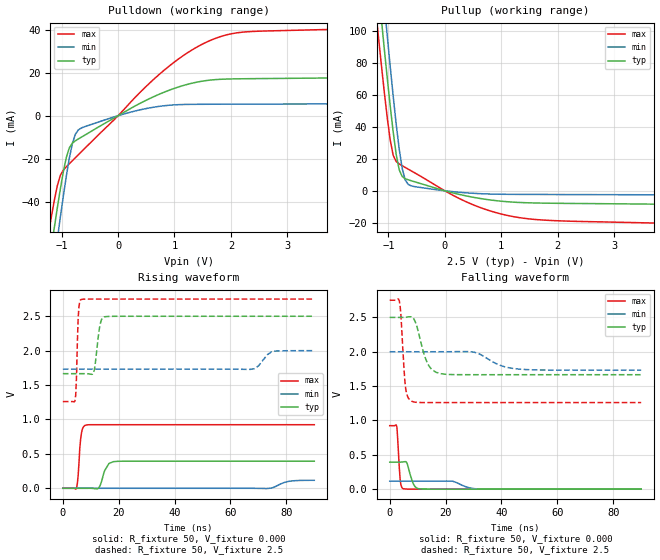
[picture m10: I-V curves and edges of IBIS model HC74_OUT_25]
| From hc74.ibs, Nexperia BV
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|   Model  HC74_OUT_25
[Model]   HC74_OUT_25
Model_type   Output
Polarity   Non-Inverting
Vmeas =  1.25V
Cref  =  5e-11
Rref  =  1e+06
Vref  =  0V
C_comp   1.2764pF   0.9255pF   1.7800pF
[Model Spec]
| Note: The input and output voltage ratings may be exceeded if the input and
|   output current ratings are observed (please refer to the data sheet)
|   Subparameter   typ   min   max
| Timing Thresholds
Vmeas   1.25   1.0   1.375
|Ambient temperature:   25   85   -40
[Temperature Range]   35   95   -30
[Voltage Range]   2.5   2.0   2.75
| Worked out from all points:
|   slope of the pulldown table from 0 to 0.375 V, typ, clamps not added: 67.5 ohm
|   slope of the pullup table from 0 to 0.375 V, typ, clamps not added: 118 ohm
|   rising waveform, R_fixture 50, V_fixture 0.000: 20-80 % time 2.15ns typ, 4.07ns min, 974ps max; typ from 0 V to 0.394 V
|   rising waveform, R_fixture 50, V_fixture 2.5: 20-80 % time 1.47ns typ, 3.21ns min, 644ps max; typ from 1.67 V to 2.5 V
|   falling waveform, R_fixture 50, V_fixture 0.000: 20-80 % time 1.8ns typ, 4.2ns min, 818ps max; typ from 0.394 V to 0 V
|   falling waveform, R_fixture 50, V_fixture 2.5: 20-80 % time 3.58ns typ, 7.71ns min, 1.33ns max; typ from 2.5 V to 1.67 V
|Process Range   nominal   slow   fast
[Pulldown]
|   voltage   I(typ)   I(min)   I(max)
-2.75V    -365.9mA   -416.1mA   -323.4mA
-1.234V   -71.2mA    -89.58mA   -55.51mA
-1.128V   -52.06mA   -68.04mA   -39.34mA
-1.075V   -42.87mA   -57.54mA   -32.57mA
-1.022V   -34.11mA   -47.3mA    -27.78mA
-915.6mV  -19.41mA   -28.16mA   -23.75mA
-809.4mV  -12.8mA    -13.04mA   -20.97mA
-703.1mV  -10.82mA   -6.604mA   -18.2mA
731.2mV   10.03mA    4.371mA    19.28mA
1.634V    16.61mA    5.354mA    35.08mA
2.325V    17.26mA    5.408mA    39.17mA
5.5V      18mA       5.64mA     41.31mA
[Pullup]
|   voltage   I(typ)   I(min)   I(max)
-2.75V    738.4mA    806mA      675.2mA
-1.234V   147.6mA    179.5mA    116.2mA
-1.181V   127.9mA    158.5mA    97.76mA
-1.128V   108.5mA    137.8mA    79.72mA
-1.075V   89.39mA    117.4mA    62.3mA
-1.022V   70.85mA    97.36mA    45.97mA
-915.6mV  36.7mA     59.15mA    22.14mA
-809.4mV  13.11mA    26.12mA    16.82mA
-703.1mV  7.588mA    6.797mA    14.61mA
-596.9mV  6.303mA    3.075mA    12.48mA
1.316V    -7.298mA   -2.252mA   -16.77mA
5.5V      -8.895mA   -2.683mA   -21.55mA
[Ramp]
| variable   typ   min   max
dV/dt_r  2.3612E-01/1.9886E-09  6.9439E-02/3.9265E-09  5.5439E-01/1.0723E-09
dV/dt_f  2.3612E-01/1.8235E-09  6.9556E-02/4.1158E-09  5.5439E-01/9.0749E-10
R_load = 50
[Rising Waveform]
R_fixture   = 50
V_fixture   = 0.000
V_fixture_min = 0.000
V_fixture_max = 0.000
| time   V(typ)   V(min)   V(max)
0s        4.133pV    859.3pV    173fV
4.889ns   -458.8nV   -6.481nV   618uV
5.467ns   -415.3nV   -3.165nV   181.5mV
6.622ns   -677.3nV   -33.2pV    792.6mV
8.356ns   19.74uV    1.29nV     919.2mV
12.69ns   -174.6uV   992.7pV    924mV
15ns      259.9mV    446.5pV    924mV
18.06ns   386.2mV    -241.7pV   924mV
73.16ns   393.5mV    -3.655mV   924mV
90ns      393.5mV    115.7mV    924mV
[Rising Waveform]
R_fixture   = 50
V_fixture   = 2.5
V_fixture_min = 2.0
V_fixture_max = 2.75
| time   V(typ)   V(min)   V(max)
0s        1.666V     1.732V     1.26V
4.311ns   1.666V     1.732V     1.266V
4.889ns   1.666V     1.732V     1.624V
5.467ns   1.666V     1.732V     2.458V
6.333ns   1.666V     1.732V     2.739V
10.96ns   1.675V     1.732V     2.75V
13.27ns   2.365V     1.732V     2.75V
14.71ns   2.491V     1.732V     2.75V
67.04ns   2.5V       1.728V     2.75V
90ns      2.5V       2V         2.75V
[Falling Waveform]
R_fixture   = 50
V_fixture   = 0.000
V_fixture_min = 0.000
V_fixture_max = 0.000
| time   V(typ)   V(min)   V(max)
0s        393.5mV    115.9mV    924mV
2.578ns   393.4mV    115.9mV    905.3mV
3.733ns   393.6mV    115.9mV    139.4mV
4.889ns   396.4mV    115.9mV    6.309mV
6.044ns   389.8mV    115.9mV    1.798mV
8.356ns   86.07mV    115.9mV    160.2uV
10.38ns   6.265mV    115.9mV    19.55uV
22.65ns   11.02uV    114.7mV    8.011nV
31.84ns   223.2nV    3.195mV    -86.54pV
90ns      4.133pV    8.631nV    173fV
[Falling Waveform]
R_fixture   = 50
V_fixture   = 2.5
V_fixture_min = 2.0
V_fixture_max = 2.75
| time   V(typ)   V(min)   V(max)
0s        2.5V       2V         2.75V
3.444ns   2.5V       2V         2.739V
4.022ns   2.5V       2V         2.526V
5.756ns   2.501V     2V         1.45V
8.067ns   2.503V     2V         1.277V
13.56ns   1.831V     2V         1.26V
18.06ns   1.682V     2V         1.26V
30.31ns   1.666V     1.993V     1.26V
45.61ns   1.666V     1.75V      1.26V
90ns      1.666V     1.732V     1.26V
